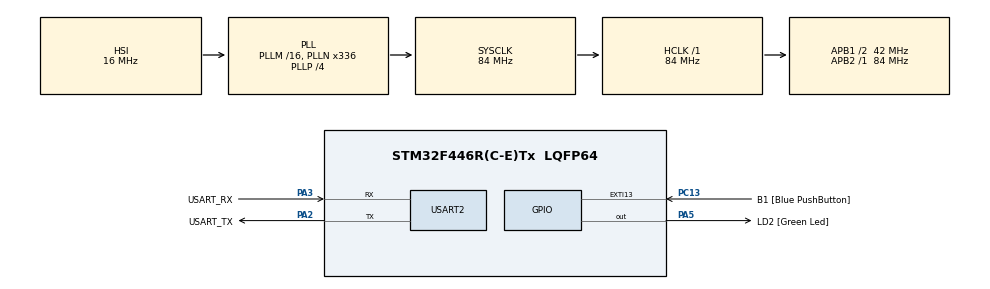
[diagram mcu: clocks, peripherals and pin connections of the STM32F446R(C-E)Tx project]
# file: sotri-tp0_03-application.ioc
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FREERTOS.BinarySemaphores01=Binary_sem,Dynamic,NULL,Available
FREERTOS.Tasks01=Task1,0,128,Task1_app,Default,NULL,Dynamic,NULL,NULL;Task2,0,128,Task2_app,Default,NULL,Dynamic,NULL,NULL
Mcu.Family=STM32F4
Mcu.Name=STM32F446R(C-E)Tx
Mcu.Package=LQFP64
NVIC.EXTI15_10_IRQn=true\:5\:0\:false\:false\:true\:true\:true\:true\:true
NVIC.PriorityGroup=NVIC_PRIORITYGROUP_4
NVIC.TIM1_UP_TIM10_IRQn=true\:15\:0\:false\:false\:true\:false\:false\:true\:true
NVIC.TimeBase=TIM1_UP_TIM10_IRQn
NVIC.TimeBaseIP=TIM1
PA13.GPIO_Label=TMS
PA13.Mode=Serial_Wire
PA13.Signal=SYS_JTMS-SWDIO
PA14.GPIO_Label=TCK
PA14.Mode=Serial_Wire
PA14.Signal=SYS_JTCK-SWCLK
PA2.GPIO_Label=USART_TX
PA2.Mode=Asynchronous
PA2.Signal=USART2_TX
PA3.GPIO_Label=USART_RX
PA3.Mode=Asynchronous
PA3.Signal=USART2_RX
PA5.GPIO_Label=LD2 [Green Led]
PA5.Signal=GPIO_Output
PB3.GPIO_Label=SWO
PB3.Signal=SYS_JTDO-SWO
PC13.GPIO_Label=B1 [Blue PushButton]
PC13.GPIO_ModeDefaultEXTI=GPIO_MODE_IT_FALLING
PC13.Signal=GPXTI13
PC14-OSC32_IN.Mode=LSE-External-Oscillator
PC14-OSC32_IN.Signal=RCC_OSC32_IN
PC15-OSC32_OUT.Mode=LSE-External-Oscillator
PC15-OSC32_OUT.Signal=RCC_OSC32_OUT
PH0-OSC_IN.Mode=HSE-External-Oscillator
PH0-OSC_IN.Signal=RCC_OSC_IN
PH1-OSC_OUT.Mode=HSE-External-Oscillator
PH1-OSC_OUT.Signal=RCC_OSC_OUT
ProjectManager.HeapSize=0x200
ProjectManager.StackSize=0x400
ProjectManager.TargetToolchain=STM32CubeIDE
RCC.48MHZClocksFreq_Value=84000000
RCC.AHBFreq_Value=84000000
RCC.APB1CLKDivider=RCC_HCLK_DIV2
RCC.APB1Freq_Value=42000000
RCC.APB1TimFreq_Value=84000000
RCC.APB2Freq_Value=84000000
RCC.APB2TimFreq_Value=84000000
RCC.CortexFreq_Value=84000000
RCC.FLatency-AdvancedSettings=FLASH_LATENCY_2
RCC.HCLKFreq_Value=84000000
RCC.HSE_VALUE=8000000
RCC.HSI_VALUE=16000000
RCC.PLLN=336
RCC.PLLP=RCC_PLLP_DIV4
RCC.SYSCLKFreq_VALUE=84000000
RCC.SYSCLKSource=RCC_SYSCLKSOURCE_PLLCLK
RCC.USBFreq_Value=168000000
RCC.VCOOutputFreq_Value=336000000
USART2.VirtualMode=VM_ASYNC
VP_FREERTOS_VS_CMSIS_V1.Mode=CMSIS_V1
VP_SYS_VS_tim1.Mode=TIM1
board=NUCLEO-F446RE

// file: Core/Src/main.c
/* USER CODE BEGIN Header */
/**
  ******************************************************************************
  * @file           : main.c
  * @brief          : Main program body
  ******************************************************************************
  * @attention
  *
  * Copyright (c) 2026 STMicroelectronics.
  * All rights reserved.
  *
  * This software is licensed under terms that can be found in the LICENSE file
  * in the root directory of this software component.
  * If no LICENSE file comes with this software, it is provided AS-IS.
  *
  ******************************************************************************
  */
/* USER CODE END Header */
#include "main.h"
#include "cmsis_os.h"

/* USER CODE BEGIN Includes */
/* Demo includes. */
#include "logger.h"
#include "dwt.h"
/* Application includes. */
#include "app.h"
/* USER CODE END Includes */

UART_HandleTypeDef huart2;

osThreadId Task1Handle;
osThreadId Task2Handle;
osSemaphoreId Binary_semHandle;

void SystemClock_Config(void);
static void MX_GPIO_Init(void);
static void MX_USART2_UART_Init(void);
void Task1_app(void const * argument);
void Task2_app(void const * argument);

/* USER CODE BEGIN 0 */
extern void initialise_monitor_handles(void);
#if (1 == LOGGER_CONFIG_USE_SEMIHOSTING)
extern void initialise_monitor_handles(void);
#endif
/* USER CODE END 0 */

int main(void)
{

  /* USER CODE BEGIN 1 */
	initialise_monitor_handles();
	#if (1 == LOGGER_CONFIG_USE_SEMIHOSTING)
	initialise_monitor_handles();
	#endif
  /* USER CODE END 1 */

  /* MCU Configuration--------------------------------------------------------*/

  /* Reset of all peripherals, Initializes the Flash interface and the Systick. */
  HAL_Init();

  /* Configure the system clock */
  SystemClock_Config();

  /* Initialize all configured peripherals */
  MX_GPIO_Init();
  MX_USART2_UART_Init();
  /* USER CODE BEGIN 2 */
  /* add application, ... */ app_init();
  /* USER CODE END 2 */

  /* Create the semaphores(s) */
  /* definition and creation of Binary_sem */
  osSemaphoreDef(Binary_sem);
  Binary_semHandle = osSemaphoreCreate(osSemaphore(Binary_sem), 1);

  /* USER CODE BEGIN RTOS_QUEUES */
  /* add queues, ... */
#ifdef _defaultTask_
  /* USER CODE END RTOS_QUEUES */

  /* Create the thread(s) */
  /* definition and creation of Task1 */
  osThreadDef(Task1, Task1_app, osPriorityNormal, 0, 128);
  Task1Handle = osThreadCreate(osThread(Task1), NULL);

  /* definition and creation of Task2 */
  osThreadDef(Task2, Task2_app, osPriorityNormal, 0, 128);
  Task2Handle = osThreadCreate(osThread(Task2), NULL);

  /* USER CODE BEGIN RTOS_THREADS */
  /* add threads, ... */
#endif
  /* USER CODE END RTOS_THREADS */

  /* Start scheduler */
  osKernelStart();

  /* We should never get here as control is now taken by the scheduler */

  /* Infinite loop */
  while (1)
  {

  }
}

void SystemClock_Config(void)
{
  RCC_OscInitTypeDef RCC_OscInitStruct = {0};
  RCC_ClkInitTypeDef RCC_ClkInitStruct = {0};

  /** Configure the main internal regulator output voltage
  */
  __HAL_RCC_PWR_CLK_ENABLE();
  __HAL_PWR_VOLTAGESCALING_CONFIG(PWR_REGULATOR_VOLTAGE_SCALE3);

  /** Initializes the RCC Oscillators according to the specified parameters
  * in the RCC_OscInitTypeDef structure.
  */
  RCC_OscInitStruct.OscillatorType = RCC_OSCILLATORTYPE_HSI;
  RCC_OscInitStruct.HSIState = RCC_HSI_ON;
  RCC_OscInitStruct.HSICalibrationValue = RCC_HSICALIBRATION_DEFAULT;
  RCC_OscInitStruct.PLL.PLLState = RCC_PLL_ON;
  RCC_OscInitStruct.PLL.PLLSource = RCC_PLLSOURCE_HSI;
  RCC_OscInitStruct.PLL.PLLM = 16;
  RCC_OscInitStruct.PLL.PLLN = 336;
  RCC_OscInitStruct.PLL.PLLP = RCC_PLLP_DIV4;
  RCC_OscInitStruct.PLL.PLLQ = 2;
  RCC_OscInitStruct.PLL.PLLR = 2;
  if (HAL_RCC_OscConfig(&RCC_OscInitStruct) != HAL_OK)
  {
    Error_Handler();
  }

  /** Initializes the CPU, AHB and APB buses clocks
  */
  RCC_ClkInitStruct.ClockType = RCC_CLOCKTYPE_HCLK|RCC_CLOCKTYPE_SYSCLK
                              |RCC_CLOCKTYPE_PCLK1|RCC_CLOCKTYPE_PCLK2;
  RCC_ClkInitStruct.SYSCLKSource = RCC_SYSCLKSOURCE_PLLCLK;
  RCC_ClkInitStruct.AHBCLKDivider = RCC_SYSCLK_DIV1;
  RCC_ClkInitStruct.APB1CLKDivider = RCC_HCLK_DIV2;
  RCC_ClkInitStruct.APB2CLKDivider = RCC_HCLK_DIV1;

  if (HAL_RCC_ClockConfig(&RCC_ClkInitStruct, FLASH_LATENCY_2) != HAL_OK)
  {
    Error_Handler();
  }
}

static void MX_USART2_UART_Init(void)
{

  huart2.Instance = USART2;
  huart2.Init.BaudRate = 115200;
  huart2.Init.WordLength = UART_WORDLENGTH_8B;
  huart2.Init.StopBits = UART_STOPBITS_1;
  huart2.Init.Parity = UART_PARITY_NONE;
  huart2.Init.Mode = UART_MODE_TX_RX;
  huart2.Init.HwFlowCtl = UART_HWCONTROL_NONE;
  huart2.Init.OverSampling = UART_OVERSAMPLING_16;
  if (HAL_UART_Init(&huart2) != HAL_OK)
  {
    Error_Handler();
  }

}

static void MX_GPIO_Init(void)
{
  GPIO_InitTypeDef GPIO_InitStruct = {0};

  /* GPIO Ports Clock Enable */
  __HAL_RCC_GPIOC_CLK_ENABLE();
  __HAL_RCC_GPIOH_CLK_ENABLE();
  __HAL_RCC_GPIOA_CLK_ENABLE();
  __HAL_RCC_GPIOB_CLK_ENABLE();

  /*Configure GPIO pin Output Level */
  HAL_GPIO_WritePin(LD2_GPIO_Port, LD2_Pin, GPIO_PIN_RESET);

  /*Configure GPIO pin : B1_Pin */
  GPIO_InitStruct.Pin = B1_Pin;
  GPIO_InitStruct.Mode = GPIO_MODE_IT_FALLING;
  GPIO_InitStruct.Pull = GPIO_NOPULL;
  HAL_GPIO_Init(B1_GPIO_Port, &GPIO_InitStruct);

  /*Configure GPIO pin : LD2_Pin */
  GPIO_InitStruct.Pin = LD2_Pin;
  GPIO_InitStruct.Mode = GPIO_MODE_OUTPUT_PP;
  GPIO_InitStruct.Pull = GPIO_NOPULL;
  GPIO_InitStruct.Speed = GPIO_SPEED_FREQ_LOW;
  HAL_GPIO_Init(LD2_GPIO_Port, &GPIO_InitStruct);

  /* EXTI interrupt init*/
  HAL_NVIC_SetPriority(EXTI15_10_IRQn, 5, 0);
  HAL_NVIC_EnableIRQ(EXTI15_10_IRQn);

}

void Task1_app(void const * argument)
{
  /* USER CODE BEGIN 5 */
  /* Infinite loop */
  for(;;)
  {
	  HAL_GPIO_TogglePin(LD2_GPIO_Port, LD2_Pin);
	  printf("Hello World!\n");
	  osDelay(1000);
  }
  /* USER CODE END 5 */
}

void Task2_app(void const * argument)
{
  for(;;)
  {
    osDelay(1);
  }
}

void HAL_TIM_PeriodElapsedCallback(TIM_HandleTypeDef *htim)
{
  if (htim->Instance == TIM1)
  {
    HAL_IncTick();
  }
}

void Error_Handler(void)
{
  __disable_irq();
  while (1)
  {
  }
}
